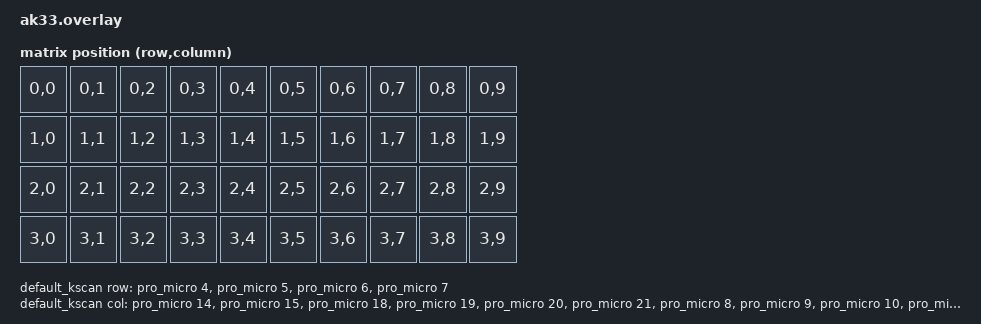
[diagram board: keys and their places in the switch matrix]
#include <dt-bindings/zmk/matrix_transform.h>

/ {
    chosen {
        /* Tells ZMK to map this hardware matrix to your physical layout */
        zmk,kscan = &default_kscan;
        zmk,matrix-transform = &default_transform;
        zmk,underglow = &led_strip;
    };

    default_kscan: kscan {
        compatible = "zmk,kscan-gpio-matrix";
        label = "default_kscan";
        diode-direction = "col2row"; // options: "col2row" or "row2col"

        /* Define the micro-controller pins used for Rows */
        row-gpios
            = <&pro_micro 4 (GPIO_ACTIVE_HIGH | GPIO_PULL_DOWN)>  // Row 0
            , <&pro_micro 5 (GPIO_ACTIVE_HIGH | GPIO_PULL_DOWN)>  // Row 1
            , <&pro_micro 6 (GPIO_ACTIVE_HIGH | GPIO_PULL_DOWN)>  // Row 2
            , <&pro_micro 7 (GPIO_ACTIVE_HIGH | GPIO_PULL_DOWN)>  // Row 3
            ;

        /* Define the micro-controller pins used for Columns */
        col-gpios
            = <&pro_micro 14 GPIO_ACTIVE_HIGH> // Col 0
            , <&pro_micro 15 GPIO_ACTIVE_HIGH> // Col 1
            , <&pro_micro 18 GPIO_ACTIVE_HIGH> // Col 2
            , <&pro_micro 19 GPIO_ACTIVE_HIGH> // Col 3
            , <&pro_micro 20 GPIO_ACTIVE_HIGH> // Col 4
            , <&pro_micro 21 GPIO_ACTIVE_HIGH> // Col 5
            , <&pro_micro 8  GPIO_ACTIVE_HIGH> // Col 6
            , <&pro_micro 9  GPIO_ACTIVE_HIGH> // Col 7
            , <&pro_micro 10 GPIO_ACTIVE_HIGH> // Col 8
            , <&pro_micro 16 GPIO_ACTIVE_HIGH> // Col 9
            ;
    };

    default_transform: matrix_transform {
        compatible = "zmk,matrix-transform";
        rows = <4>;
        columns = <10>;

        map = <
            RC(0,0) RC(0,1) RC(0,2) RC(0,3) RC(0,4) RC(0,5) RC(0,6) RC(0,7) RC(0,8) RC(0,9)
            RC(1,0) RC(1,1) RC(1,2) RC(1,3) RC(1,4) RC(1,5) RC(1,6) RC(1,7) RC(1,8) RC(1,9)
            RC(2,0) RC(2,1) RC(2,2) RC(2,3) RC(2,4) RC(2,5) RC(2,6) RC(2,7) RC(2,8) RC(2,9)
            RC(3,0) RC(3,1) RC(3,2) RC(3,3) RC(3,4) RC(3,5) RC(3,6) RC(3,7) RC(3,8) RC(3,9)
        >;
    };

    led_strip: ws2812_strip {
        compatible = "worldsemi,ws2812b";
        chain-length = <29>;
        pin = <&pro_micro 1>;  // Adjust pin number as needed for your hardware
    };
};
